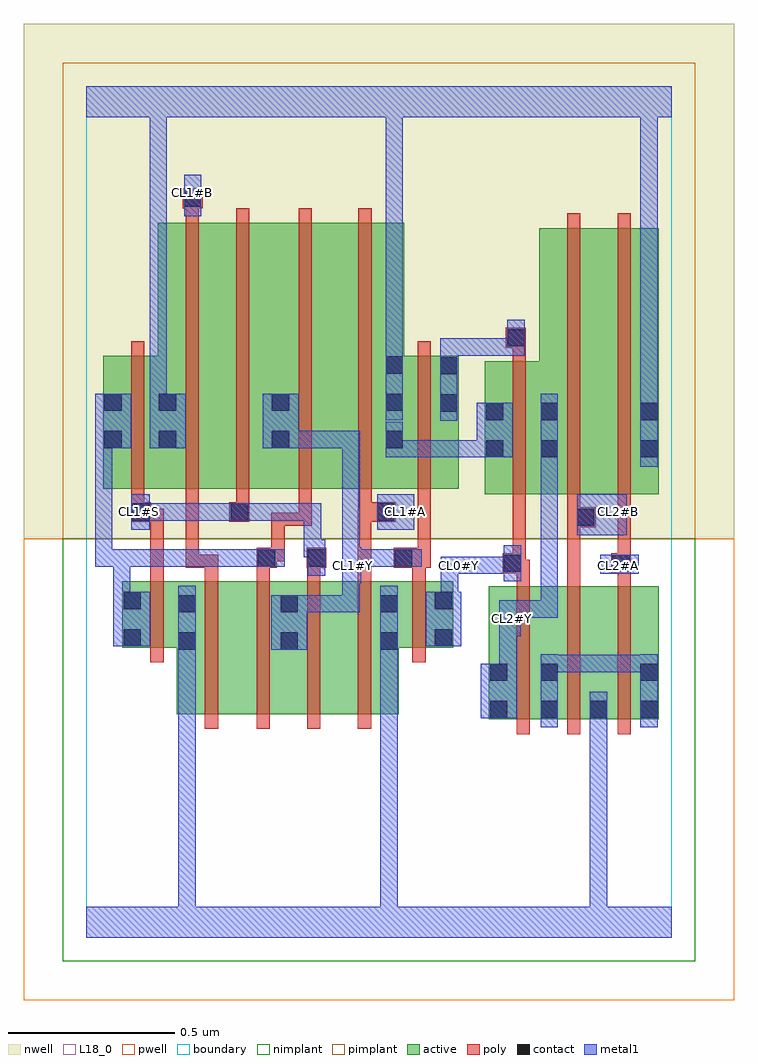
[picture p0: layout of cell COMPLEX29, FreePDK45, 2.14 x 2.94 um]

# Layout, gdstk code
import gdstk
lib = gdstk.Library(unit=1e-6, precision=1e-09)
def R(c, l, rs):  # rectangles x0, y0, x1, y1
    for r in rs: c.add(gdstk.rectangle(r[:2], r[2:], *l))
def A(c, l, x, y, w, h, nx, ny, dx, dy):  # array of equal rectangles
    R(c, l, [(x+i*dx, y+j*dy, x+i*dx+w, y+j*dy+h) for i in range(nx) for j in range(ny)])
active = (1, 0)
pwell = (2, 0)
nwell = (3, 0)
nimplant = (4, 0)
pimplant = (5, 0)
poly = (9, 0)
contact = (10, 0)
metal1 = (11, 0)
L18_0 = (18, 0)
boundary = (235, 0)

complex29 = lib.new_cell('COMPLEX29')
R(complex29, active, [(1.21,0.656,1.27,1.056), (1.21,0.656,1.422,1.056), (1.362,0.656,1.422,1.056), (1.362,0.656,1.57,1.056), (1.51,0.656,1.722,1.056), (1.51,0.656,1.57,0.828), (1.662,0.656,1.722,1.056), (0.272,0.672,0.332,1.072), (0.272,0.672,0.452,1.072), (0.452,0.672,0.64,1.072), (0.58,0.672,0.76,1.072), (0.76,0.672,0.94,1.072), (0.58,0.756,0.64,1.034), (0.88,0.862,0.94,1.034), (0.108,0.872,0.168,1.072), (0.108,0.872,0.332,1.072), (0.88,0.872,1.104,1.072), (1.044,0.872,1.104,1.072), (1.198,1.334,1.258,1.734), (1.198,1.334,1.422,1.734), (1.362,1.334,1.542,2.134), (1.362,1.334,1.422,2.108), (1.542,1.334,1.722,2.134), (1.662,1.334,1.722,2.134), (0.05,1.35,0.11,1.75), (0.05,1.35,0.274,1.75), (0.214,1.35,0.394,2.15), (0.214,1.35,0.274,2.106), (0.394,1.35,0.614,2.15), (0.554,1.35,0.762,2.15), (0.554,1.35,0.614,2.044), (0.762,1.35,0.956,2.15), (0.896,1.35,1.12,1.75), (1.06,1.35,1.12,1.75), (0.896,1.416,0.956,2.15)])
R(complex29, pwell, [(-0.188,-0.188,1.948,1.2)])
R(complex29, nwell, [(-0.188,1.2,1.948,2.748)])
R(complex29, nimplant, [(-0.072,-0.072,1.832,1.2)])
R(complex29, pimplant, [(-0.072,1.2,1.832,2.632)])
A(complex29, poly, 1.294, 0.612, 0.04, 0.488, 3, 1, 0.152, 0)
A(complex29, poly, 0.512, 0.628, 0.04, 0.488, 3, 1, 0.152, 0)
R(complex29, poly, [(0.356,0.628,0.396,1.152), (0.192,0.828,0.232,1.116), (0.98,0.828,1.02,1.116), (1.294,1.06,1.334,1.136), (1.446,1.06,1.486,1.274), (1.598,1.06,1.638,1.136), (0.192,1.076,0.232,1.29), (0.512,1.076,0.552,1.152), (0.664,1.076,0.704,1.152), (0.816,1.076,0.856,1.29), (0.98,1.076,1.02,1.152), (1.252,1.096,1.322,1.156), (1.282,1.096,1.322,1.136), (1.282,1.096,1.334,1.136), (1.578,1.096,1.638,1.156), (0.298,1.112,0.338,1.346), (0.298,1.112,0.354,1.152), (0.314,1.112,0.354,1.152), (0.314,1.112,0.396,1.152), (0.356,1.112,0.396,1.152), (0.512,1.112,0.572,1.172), (0.662,1.112,0.722,1.172), (0.924,1.112,1.036,1.172), (1.282,1.116,1.322,1.33), (1.598,1.116,1.638,1.33), (1.598,1.116,1.638,1.156), (1.598,1.116,1.638,1.156), (0.532,1.132,0.596,1.172), (0.556,1.132,0.596,1.172), (0.556,1.132,0.596,1.278), (0.996,1.132,1.036,1.346), (0.996,1.132,1.036,1.172), (0.996,1.132,1.036,1.172), (1.446,1.234,1.486,1.274), (1.446,1.234,1.486,1.274), (1.446,1.234,1.532,1.294), (0.556,1.238,0.596,1.278), (0.556,1.238,0.678,1.278), (0.638,1.238,0.678,1.278), (0.638,1.238,0.678,1.346), (0.134,1.25,0.194,1.31), (0.154,1.25,0.194,1.29), (0.154,1.25,0.232,1.29), (0.43,1.25,0.49,1.31), (0.816,1.25,0.858,1.29), (0.818,1.25,0.858,1.29), (0.818,1.25,0.93,1.31), (1.446,1.254,1.486,1.33), (0.134,1.27,0.174,1.346), (0.45,1.27,0.49,1.346), (0.818,1.27,0.858,1.346), (1.282,1.29,1.322,1.778), (1.446,1.29,1.486,2.178), (1.598,1.29,1.638,2.178), (0.134,1.306,0.174,1.794), (0.298,1.306,0.338,2.194), (0.45,1.306,0.49,2.194), (0.638,1.306,0.678,2.194), (0.818,1.306,0.858,2.194), (0.996,1.306,1.036,1.794), (1.282,1.738,1.322,1.814), (1.262,1.774,1.322,1.834), (0.298,2.154,0.338,2.234), (0.29,2.194,0.35,2.254)])
A(complex29, contact, 0.9, 1.472, 0.052, 0.052, 1, 3, 0, 0.112)
R(complex29, contact, [(1.214,0.66,1.266,0.712), (1.366,0.66,1.418,0.712), (1.514,0.66,1.566,0.712), (1.666,0.66,1.718,0.712), (1.214,0.772,1.266,0.824), (1.366,0.772,1.418,0.824), (1.666,0.772,1.718,0.824), (0.276,0.866,0.328,0.918), (0.584,0.866,0.636,0.918), (0.884,0.866,0.936,0.918), (0.112,0.876,0.164,0.928), (1.048,0.876,1.1,0.928), (0.276,0.978,0.328,1.03), (0.584,0.978,0.636,1.03), (0.884,0.978,0.936,1.03), (0.112,0.988,0.164,1.04), (1.048,0.988,1.1,1.04), (1.256,1.1,1.308,1.152), (1.582,1.1,1.634,1.152), (0.516,1.116,0.568,1.168), (0.666,1.116,0.718,1.168), (0.928,1.116,0.98,1.168), (1.476,1.238,1.528,1.29), (0.138,1.254,0.19,1.306), (0.434,1.254,0.486,1.306), (0.874,1.254,0.926,1.306), (1.202,1.444,1.254,1.496), (1.366,1.444,1.418,1.496), (1.666,1.444,1.718,1.496), (0.054,1.472,0.106,1.524), (0.218,1.472,0.27,1.524), (0.558,1.472,0.61,1.524), (1.202,1.556,1.254,1.608), (1.366,1.556,1.418,1.608), (1.666,1.556,1.718,1.608), (1.064,1.582,1.116,1.634), (0.054,1.584,0.106,1.636), (0.218,1.584,0.27,1.636), (0.558,1.584,0.61,1.636), (1.064,1.694,1.116,1.746), (1.266,1.778,1.318,1.83), (0.294,2.198,0.346,2.25)])
R(complex29, metal1, [(0,0,1.76,0.092), (0.276,0.04,0.328,0.092), (0.276,0.04,0.328,0.092), (0.276,0.04,0.328,0.092), (0.276,0.04,0.328,0.092), (0.276,0.04,0.328,0.092), (0.276,0.04,0.328,0.092), (0.276,0.04,0.328,0.092), (0.276,0.04,0.328,0.092), (0.276,0.04,0.328,0.89), (0.884,0.04,0.936,0.092), (0.884,0.04,0.936,0.092), (0.884,0.04,0.936,0.092), (0.884,0.04,0.936,0.092), (0.884,0.04,0.936,0.092), (0.884,0.04,0.936,0.092), (0.884,0.04,0.936,0.092), (0.884,0.04,0.936,0.092), (0.884,0.04,0.936,0.89), (1.514,0.04,1.566,0.092), (1.514,0.04,1.566,0.092), (1.514,0.04,1.566,0.092), (1.514,0.04,1.566,0.092), (1.514,0.04,1.566,0.092), (1.514,0.04,1.566,0.092), (1.514,0.04,1.566,0.092), (1.514,0.04,1.566,0.092), (1.514,0.04,1.566,0.684), (1.366,0.632,1.418,0.852), (1.514,0.632,1.566,0.684), (1.514,0.632,1.566,0.684), (1.514,0.632,1.566,0.684), (1.514,0.632,1.566,0.684), (1.514,0.632,1.566,0.74), (1.666,0.632,1.718,0.852), (1.186,0.66,1.294,0.824), (1.242,0.772,1.294,0.958), (1.366,0.798,1.418,0.85), (1.366,0.798,1.418,0.85), (1.366,0.798,1.608,0.85), (1.556,0.798,1.608,0.85), (1.556,0.798,1.718,0.85), (1.666,0.798,1.718,0.85), (1.666,0.798,1.718,0.85), (0.276,0.838,0.328,0.89), (0.276,0.838,0.328,0.89), (0.276,0.838,0.328,0.89), (0.276,0.838,0.328,0.89), (0.276,0.838,0.328,1.058), (0.884,0.838,0.936,0.89), (0.884,0.838,0.936,0.89), (0.884,0.838,0.936,0.89), (0.884,0.838,0.936,0.89), (0.884,0.838,0.936,1.058), (0.556,0.866,0.664,1.03), (0.08,0.876,0.192,1.04), (1.02,0.876,1.128,1.04), (1.242,0.906,1.306,1.014), (1.254,0.962,1.306,1.014), (1.254,0.962,1.306,1.014), (1.254,0.962,1.418,1.014), (1.366,0.962,1.418,1.014), (1.366,0.962,1.418,1.468), (0.612,0.978,0.712,1.03), (0.66,0.978,0.712,1.03), (0.66,0.978,0.822,1.03), (0.77,0.978,0.822,1.03), (0.77,0.978,0.822,1.118), (0.08,0.988,0.132,1.168), (1.066,0.988,1.118,1.146), (0.77,1.066,0.826,1.174), (1.256,1.072,1.308,1.18), (0.666,1.088,0.718,1.196), (1.066,1.094,1.174,1.146), (1.122,1.094,1.174,1.146), (1.122,1.094,1.174,1.146), (1.122,1.094,1.174,1.146), (1.122,1.094,1.174,1.146), (1.122,1.094,1.308,1.146), (1.546,1.094,1.662,1.152), (0.026,1.116,0.078,1.168), (0.026,1.116,0.078,1.168), (0.026,1.116,0.078,1.524), (0.026,1.116,0.132,1.168), (0.08,1.116,0.132,1.168), (0.08,1.116,0.132,1.168), (0.08,1.116,0.3,1.168), (0.248,1.116,0.3,1.168), (0.248,1.116,0.3,1.168), (0.248,1.116,0.3,1.168), (0.248,1.116,0.412,1.168), (0.36,1.116,0.412,1.168), (0.36,1.116,0.54,1.168), (0.488,1.116,0.596,1.168), (0.774,1.116,0.842,1.168), (0.79,1.116,0.842,1.168), (0.79,1.116,0.952,1.168), (0.9,1.116,0.952,1.168), (0.9,1.116,0.952,1.168), (0.9,1.116,1.008,1.168), (0.77,1.122,0.822,1.174), (0.77,1.122,0.822,1.174), (0.77,1.122,0.822,1.524), (0.654,1.144,0.706,1.196), (0.654,1.144,0.718,1.196), (0.654,1.144,0.706,1.306), (1.476,1.21,1.626,1.334), (0.134,1.226,0.19,1.334), (0.874,1.226,0.986,1.334), (0.138,1.254,0.302,1.306), (0.25,1.254,0.302,1.306), (0.25,1.254,0.302,1.306), (0.25,1.254,0.302,1.306), (0.25,1.254,0.458,1.306), (0.406,1.254,0.458,1.306), (0.406,1.254,0.458,1.306), (0.406,1.254,0.514,1.306), (0.462,1.254,0.706,1.306), (0.654,1.254,0.706,1.306), (1.366,1.416,1.418,1.468), (1.366,1.416,1.418,1.468), (1.366,1.416,1.418,1.636), (1.666,1.416,1.718,1.636), (0.9,1.444,0.952,1.552), (0.9,1.444,1.064,1.496), (1.012,1.444,1.064,1.496), (1.012,1.444,1.064,1.496), (1.012,1.444,1.064,1.496), (1.012,1.444,1.226,1.496), (1.174,1.444,1.282,1.608), (0.026,1.472,0.134,1.636), (0.19,1.472,0.298,1.636), (0.53,1.472,0.638,1.636), (0.586,1.472,0.706,1.524), (0.654,1.472,0.706,1.524), (0.654,1.472,0.822,1.524), (0.77,1.472,0.822,1.524), (1.064,1.554,1.116,1.774), (0.9,1.556,0.952,1.776), (0.19,1.584,0.242,1.636), (0.19,1.584,0.242,1.636), (0.19,1.584,0.242,2.52), (1.666,1.584,1.718,2.52), (1.064,1.722,1.116,1.802), (0.9,1.724,0.952,1.776), (0.9,1.724,0.952,1.776), (0.9,1.724,0.952,2.52), (1.064,1.75,1.116,1.802), (1.064,1.75,1.308,1.802), (1.256,1.75,1.308,1.802), (1.256,1.75,1.318,1.802), (1.266,1.75,1.318,1.858), (0.294,2.17,0.346,2.294), (0,2.468,1.76,2.56), (0.19,2.468,0.242,2.52), (0.19,2.468,0.242,2.52), (0.19,2.468,0.242,2.52), (0.19,2.468,0.242,2.52), (0.19,2.468,0.242,2.52), (0.19,2.468,0.242,2.52), (0.9,2.468,0.952,2.52), (0.9,2.468,0.952,2.52), (0.9,2.468,0.952,2.52), (0.9,2.468,0.952,2.52), (0.9,2.468,0.952,2.52), (0.9,2.468,0.952,2.52), (1.666,2.468,1.718,2.52), (1.666,2.468,1.718,2.52), (1.666,2.468,1.718,2.52), (1.666,2.468,1.718,2.52), (1.666,2.468,1.718,2.52), (1.666,2.468,1.718,2.52), (1.666,2.468,1.718,2.52), (1.666,2.468,1.718,2.52)])
R(complex29, L18_0, [(0,0,1.76,0.092), (0.276,0.04,0.328,0.092), (0.276,0.04,0.328,0.092), (0.276,0.04,0.328,0.092), (0.276,0.04,0.328,0.092), (0.276,0.04,0.328,0.092), (0.276,0.04,0.328,0.092), (0.276,0.04,0.328,0.092), (0.276,0.04,0.328,0.092), (0.276,0.04,0.328,0.89), (0.884,0.04,0.936,0.092), (0.884,0.04,0.936,0.092), (0.884,0.04,0.936,0.092), (0.884,0.04,0.936,0.092), (0.884,0.04,0.936,0.092), (0.884,0.04,0.936,0.092), (0.884,0.04,0.936,0.092), (0.884,0.04,0.936,0.092), (0.884,0.04,0.936,0.89), (1.514,0.04,1.566,0.092), (1.514,0.04,1.566,0.092), (1.514,0.04,1.566,0.092), (1.514,0.04,1.566,0.092), (1.514,0.04,1.566,0.092), (1.514,0.04,1.566,0.092), (1.514,0.04,1.566,0.092), (1.514,0.04,1.566,0.092), (1.514,0.04,1.566,0.684), (1.514,0.632,1.566,0.684), (1.514,0.632,1.566,0.684), (1.514,0.632,1.566,0.684), (1.514,0.632,1.566,0.684), (1.514,0.632,1.566,0.74), (1.186,0.66,1.294,0.824), (1.242,0.772,1.294,0.958), (0.276,0.838,0.328,0.89), (0.276,0.838,0.328,0.89), (0.276,0.838,0.328,0.89), (0.276,0.838,0.328,0.89), (0.276,0.838,0.328,1.058), (0.884,0.838,0.936,0.89), (0.884,0.838,0.936,0.89), (0.884,0.838,0.936,0.89), (0.884,0.838,0.936,0.89), (0.884,0.838,0.936,1.058), (0.556,0.866,0.664,1.03), (1.02,0.876,1.128,1.04), (1.242,0.906,1.306,1.014), (1.254,0.934,1.306,0.986), (1.254,0.962,1.306,1.014), (1.254,0.962,1.306,1.014), (1.254,0.962,1.418,1.014), (1.366,0.962,1.418,1.014), (1.366,0.962,1.418,1.468), (0.612,0.978,0.712,1.03), (0.66,0.978,0.712,1.03), (0.66,0.978,0.822,1.03), (0.77,0.978,0.822,1.03), (0.77,0.978,0.822,1.118), (1.066,0.988,1.118,1.146), (0.77,1.066,0.826,1.174), (1.256,1.072,1.308,1.18), (0.666,1.088,0.718,1.196), (0.774,1.094,0.826,1.146), (1.066,1.094,1.174,1.146), (1.094,1.094,1.146,1.146), (1.122,1.094,1.174,1.146), (1.122,1.094,1.174,1.146), (1.122,1.094,1.174,1.146), (1.122,1.094,1.174,1.146), (1.122,1.094,1.308,1.146), (1.546,1.094,1.662,1.152), (1.574,1.094,1.626,1.146), (0.774,1.116,0.842,1.168), (0.79,1.116,0.842,1.168), (0.79,1.116,0.952,1.168), (0.9,1.116,0.952,1.168), (0.9,1.116,0.952,1.168), (0.9,1.116,1.008,1.168), (0.77,1.122,0.822,1.174), (0.77,1.122,0.822,1.174), (0.77,1.122,0.822,1.524), (0.654,1.144,0.706,1.196), (0.654,1.144,0.706,1.306), (0.654,1.144,0.718,1.196), (1.476,1.21,1.626,1.334), (0.134,1.226,0.19,1.334), (0.874,1.226,0.986,1.334), (0.134,1.254,0.186,1.306), (0.138,1.254,0.302,1.306), (0.25,1.254,0.302,1.306), (0.25,1.254,0.302,1.306), (0.25,1.254,0.302,1.306), (0.25,1.254,0.458,1.306), (0.406,1.254,0.458,1.306), (0.406,1.254,0.458,1.306), (0.406,1.254,0.514,1.306), (0.462,1.254,0.706,1.306), (0.654,1.254,0.706,1.306), (0.934,1.254,0.986,1.306), (1.574,1.254,1.626,1.306), (1.366,1.416,1.418,1.468), (1.366,1.416,1.418,1.468), (1.366,1.416,1.418,1.636), (1.666,1.416,1.718,1.636), (0.9,1.444,1.064,1.496), (0.9,1.444,0.952,1.552), (1.012,1.444,1.064,1.496), (1.012,1.444,1.064,1.496), (1.012,1.444,1.064,1.496), (1.012,1.444,1.226,1.496), (1.174,1.444,1.282,1.608), (0.19,1.472,0.298,1.636), (0.53,1.472,0.638,1.636), (0.586,1.472,0.706,1.524), (0.654,1.472,0.706,1.524), (0.654,1.472,0.822,1.524), (0.77,1.472,0.822,1.524), (1.064,1.554,1.116,1.774), (0.9,1.556,0.952,1.776), (0.19,1.584,0.242,1.636), (0.19,1.584,0.242,1.636), (0.19,1.584,0.242,2.52), (1.666,1.584,1.718,2.52), (1.064,1.722,1.116,1.802), (0.9,1.724,0.952,1.776), (0.9,1.724,0.952,1.776), (0.9,1.724,0.952,2.52), (1.064,1.75,1.116,1.802), (1.064,1.75,1.308,1.802), (1.256,1.75,1.308,1.802), (1.256,1.75,1.318,1.802), (1.266,1.75,1.318,1.858), (0.294,2.17,0.346,2.294), (0.294,2.214,0.346,2.266), (0,2.468,1.76,2.56), (0.19,2.468,0.242,2.52), (0.19,2.468,0.242,2.52), (0.19,2.468,0.242,2.52), (0.19,2.468,0.242,2.52), (0.19,2.468,0.242,2.52), (0.19,2.468,0.242,2.52), (0.9,2.468,0.952,2.52), (0.9,2.468,0.952,2.52), (0.9,2.468,0.952,2.52), (0.9,2.468,0.952,2.52), (0.9,2.468,0.952,2.52), (0.9,2.468,0.952,2.52), (1.666,2.468,1.718,2.52), (1.666,2.468,1.718,2.52), (1.666,2.468,1.718,2.52), (1.666,2.468,1.718,2.52), (1.666,2.468,1.718,2.52), (1.666,2.468,1.718,2.52), (1.666,2.468,1.718,2.52), (1.666,2.468,1.718,2.52)])
R(complex29, boundary, [(0,0,1.76,2.56)])
complex29.add(gdstk.Label('CL0#Y', (1.12,1.12), layer=11, texttype=0))
complex29.add(gdstk.Label('CL1#A', (0.96,1.28), layer=11, texttype=0))
complex29.add(gdstk.Label('CL1#B', (0.32,2.24), layer=11, texttype=0))
complex29.add(gdstk.Label('CL1#S', (0.16,1.28), layer=11, texttype=0))
complex29.add(gdstk.Label('CL1#Y', (0.8,1.12), layer=11, texttype=0))
complex29.add(gdstk.Label('CL2#A', (1.6,1.12), layer=11, texttype=0))
complex29.add(gdstk.Label('CL2#B', (1.6,1.28), layer=11, texttype=0))
complex29.add(gdstk.Label('CL2#Y', (1.28,0.96), layer=11, texttype=0))

lib.write_gds('COMPLEX29.gds')
